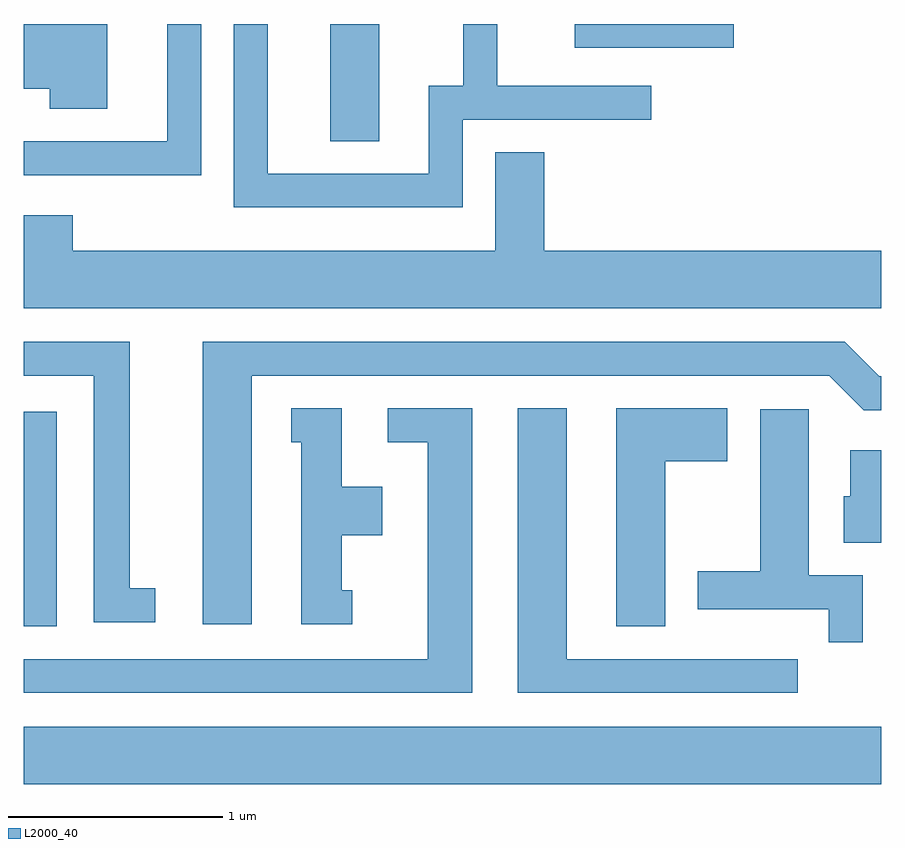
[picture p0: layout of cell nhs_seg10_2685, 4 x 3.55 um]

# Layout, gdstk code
import gdstk
lib = gdstk.Library(unit=1e-6, precision=1e-09)
def R(c, l, rs):  # rectangles x0, y0, x1, y1
    for r in rs: c.add(gdstk.rectangle(r[:2], r[2:], *l))
def P(c, l, *ps):  # polygons
    for p in ps: c.add(gdstk.Polygon(p, *l))
L2000_40 = (2000, 40)

nhs_seg10_2685 = lib.new_cell('nhs_seg10_2685')
R(nhs_seg10_2685, L2000_40, [(263.611,2164.976,267.611,2165.244), (263.611,2165.711,263.764,2166.714), (265.041,2167.976,265.269,2168.522), (266.181,2168.411,266.924,2168.522)])
P(nhs_seg10_2685, L2000_40, [(263.999,2168.522),(263.611,2168.522),(263.611,2168.221),(263.731,2168.221),(263.731,2168.126),(263.999,2168.126)],
  [(265.659,2168.076),(266.538,2168.076),(266.538,2168.234),(265.819,2168.234),(265.819,2168.522),(265.661,2168.522),(265.661,2168.234),(265.501,2168.234),(265.501,2167.824),(264.749,2167.824),(264.749,2168.522),(264.591,2168.522),(264.591,2167.666),(265.659,2167.666)],
  [(264.439,2168.522),(264.281,2168.522),(264.281,2167.974),(263.611,2167.974),(263.611,2167.816),(264.439,2167.816)],
  [(267.611,2167.464),(266.039,2167.464),(266.039,2167.924),(265.811,2167.924),(265.811,2167.464),(263.839,2167.464),(263.839,2167.629),(263.611,2167.629),(263.611,2167.196),(267.611,2167.196)],
  [(264.674,2166.881),(267.369,2166.881),(267.529,2166.721),(267.611,2166.721),(267.611,2166.879),(267.602,2166.879),(267.442,2167.039),(264.446,2167.039),(264.446,2165.721),(264.674,2165.721)],
  [(264.223,2165.889),(264.104,2165.889),(264.104,2167.039),(263.611,2167.039),(263.611,2166.881),(263.936,2166.881),(263.936,2165.731),(264.223,2165.731)],
  [(266.604,2166.481),(266.894,2166.481),(266.894,2166.729),(266.376,2166.729),(266.376,2165.711),(266.604,2165.711)],
  [(267.223,2165.559),(266.144,2165.559),(266.144,2166.729),(265.916,2166.729),(265.916,2165.401),(267.223,2165.401)],
  [(265.143,2165.879),(265.094,2165.879),(265.094,2166.136),(265.284,2166.136),(265.284,2166.364),(265.094,2166.364),(265.094,2166.729),(264.858,2166.729),(264.858,2166.571),(264.906,2166.571),(264.906,2165.721),(265.143,2165.721)],
  [(265.704,2166.729),(265.308,2166.729),(265.308,2166.571),(265.496,2166.571),(265.496,2165.559),(263.611,2165.559),(263.611,2165.401),(265.704,2165.401)],
  [(267.524,2165.949),(267.274,2165.949),(267.274,2166.724),(267.046,2166.724),(267.046,2165.969),(266.756,2165.969),(266.756,2165.791),(267.366,2165.791),(267.366,2165.638),(267.524,2165.638)],
  [(267.611,2166.534),(267.466,2166.534),(267.466,2166.319),(267.436,2166.319),(267.436,2166.101),(267.611,2166.101)])

lib.write_gds('nhs_seg10_2685.gds')
